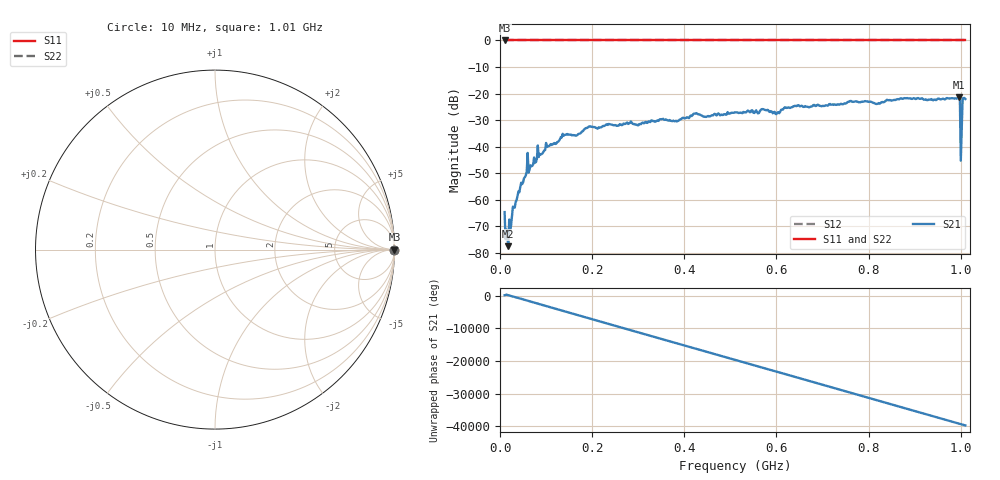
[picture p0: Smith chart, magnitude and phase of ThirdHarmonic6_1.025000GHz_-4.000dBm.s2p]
! 8/16/2025 8:39:20 AM
! C:\ANRITSUVNA\TEMP\TEMP.S2P
! CHANNEL.1
! TR.MEASUREMENT
! RAW.DATA
! RF.CORRECTION.OFF
! AVERAGING.OFF
! IF.BANDWIDTH: 5KHZ
! SWEEPTYPE:  FREQ.SWEEP(Linear)
! Reference Plane Port Info
! PORT:  PORT1  PORT2
! DISTANCE:  0  m  0  m
! TIME:  0  s  0  s
! PHASE.OFFSET:  0  deg.  0  deg.
! LOSS:  0  dB  0  dB
! REF.LOSS:  0  dB  0  dB
! REF.FREQ:  0  Hz  0  Hz
! Power Info
! POWER:  -20  dBm  -20  dBm
! EFF.POWER:  -20  dBm  -20  dBm
! SOURCE.ATTEN:  0  dB  0  dB
! TEST.ATTEN:  0  dB  0  dB
# GHZ S RI R 50.0
! FREQ.GHZ  S11RE  S11IM  S21RE  S21IM  S12RE  S12IM  S22RE  S22IM
!; PortSelection: Port_12
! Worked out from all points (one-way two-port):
!   501 points, 10 MHz to 1.01 GHz, reference 50 ohm
!   highest |S21| = -21.48 dB at 996 MHz (marker M1); lowest = -77.5 dB at 18 MHz (marker M2)
!   lowest |S11| = 0.0 dB at 10 MHz (marker M3)
!   |S11| at or under -10 dB: nowhere
!   |S22| runs from 0.0 to 0.0 dB; largest |S21 - S12| = 1.1
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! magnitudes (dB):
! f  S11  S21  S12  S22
! 10 MHz  0.0  -64.7  0.0  0.0
! 14 MHz  0.0  -71.3  0.0  0.0
! 18 MHz  0.0  -77.5  0.0  0.0
! 32 MHz  0.0  -63.0  0.0  0.0
! 62 MHz  0.0  -49.8  0.0  0.0
! 104 MHz  0.0  -39.9  0.0  0.0
! 136 MHz  0.0  -35.2  0.0  0.0
! 178 MHz  0.0  -34.3  0.0  0.0
! 196 MHz  0.0  -32.4  0.0  0.0
! 344 MHz  0.0  -30.3  0.0  0.0
! 510 MHz  0.0  -27.1  0.0  0.0
! 572 MHz  0.0  -26.0  0.0  0.0
! 602 MHz  0.0  -27.2  0.0  0.0
! 620 MHz  0.0  -25.3  0.0  0.0
! 678 MHz  0.0  -24.7  0.0  0.0
! 844 MHz  0.0  -22.5  0.0  0.0
! 994 MHz  0.0  -21.7  0.0  0.0
! 996 MHz  0.0  -21.5  0.0  0.0
! 998 MHz  0.0  -21.8  0.0  0.0
! 1.004 GHz  0.0  -21.9  0.0  0.0
! 1.006 GHz  0.0  -21.7  0.0  0.0
! 1.01 GHz  0.0  -22.1  0.0  0.0
